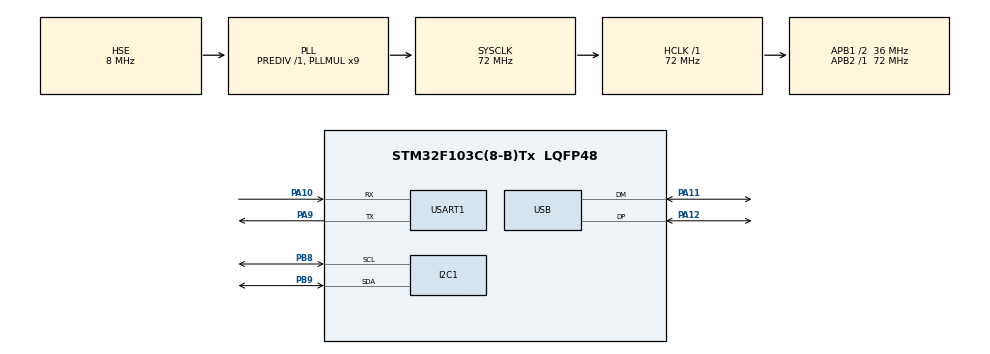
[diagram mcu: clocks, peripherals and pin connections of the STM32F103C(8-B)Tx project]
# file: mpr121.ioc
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Dma.I2C1_RX.1.Direction=DMA_PERIPH_TO_MEMORY
Dma.I2C1_RX.1.Instance=DMA1_Channel7
Dma.I2C1_RX.1.MemDataAlignment=DMA_MDATAALIGN_BYTE
Dma.I2C1_RX.1.MemInc=DMA_MINC_ENABLE
Dma.I2C1_RX.1.Mode=DMA_NORMAL
Dma.I2C1_RX.1.PeriphDataAlignment=DMA_PDATAALIGN_BYTE
Dma.I2C1_RX.1.PeriphInc=DMA_PINC_DISABLE
Dma.I2C1_RX.1.Priority=DMA_PRIORITY_LOW
Dma.I2C1_TX.0.Direction=DMA_MEMORY_TO_PERIPH
Dma.I2C1_TX.0.Instance=DMA1_Channel6
Dma.I2C1_TX.0.MemDataAlignment=DMA_MDATAALIGN_BYTE
Dma.I2C1_TX.0.MemInc=DMA_MINC_ENABLE
Dma.I2C1_TX.0.Mode=DMA_NORMAL
Dma.I2C1_TX.0.PeriphDataAlignment=DMA_PDATAALIGN_BYTE
Dma.I2C1_TX.0.PeriphInc=DMA_PINC_DISABLE
Dma.I2C1_TX.0.Priority=DMA_PRIORITY_LOW
Dma.Request0=I2C1_TX
Dma.Request1=I2C1_RX
I2C1.I2C_Mode=I2C_Fast
Mcu.Family=STM32F1
Mcu.Name=STM32F103C(8-B)Tx
Mcu.Package=LQFP48
NVIC.DMA1_Channel6_IRQn=true\:0\:0\:false\:false\:true\:false\:true\:true
NVIC.DMA1_Channel7_IRQn=true\:0\:0\:false\:false\:true\:false\:true\:true
NVIC.PriorityGroup=NVIC_PRIORITYGROUP_4
NVIC.USART1_IRQn=true\:0\:0\:false\:false\:true\:true\:true\:true
NVIC.USB_LP_CAN1_RX0_IRQn=true\:0\:0\:false\:false\:true\:false\:true\:true
PA10.Mode=Asynchronous
PA10.Signal=USART1_RX
PA11.Mode=Device
PA11.Signal=USB_DM
PA12.Mode=Device
PA12.Signal=USB_DP
PA13.Mode=Serial_Wire
PA13.Signal=SYS_JTMS-SWDIO
PA14.Mode=Serial_Wire
PA14.Signal=SYS_JTCK-SWCLK
PA9.Mode=Asynchronous
PA9.Signal=USART1_TX
PB8.Mode=I2C
PB8.Signal=I2C1_SCL
PB9.Mode=I2C
PB9.Signal=I2C1_SDA
PD0-OSC_IN.Mode=HSE-External-Oscillator
PD0-OSC_IN.Signal=RCC_OSC_IN
PD1-OSC_OUT.Mode=HSE-External-Oscillator
PD1-OSC_OUT.Signal=RCC_OSC_OUT
ProjectManager.HeapSize=0x200
ProjectManager.StackSize=0x400
ProjectManager.TargetToolchain=STM32CubeIDE
RCC.AHBFreq_Value=72000000
RCC.APB1CLKDivider=RCC_HCLK_DIV2
RCC.APB1Freq_Value=36000000
RCC.APB1TimFreq_Value=72000000
RCC.APB2Freq_Value=72000000
RCC.APB2TimFreq_Value=72000000
RCC.HCLKFreq_Value=72000000
RCC.PLLMUL=RCC_PLL_MUL9
RCC.SYSCLKFreq_VALUE=72000000
RCC.SYSCLKSource=RCC_SYSCLKSOURCE_PLLCLK
RCC.USBFreq_Value=48000000
RCC.USBPrescaler=RCC_USBCLKSOURCE_PLL_DIV1_5
USART1.VirtualMode=VM_ASYNC
USB_DEVICE.CLASS_NAME_FS=CDC
USB_DEVICE.VirtualMode=Cdc
USB_DEVICE.VirtualModeFS=Cdc_FS
VP_USB_DEVICE_VS_USB_DEVICE_CDC_FS.Mode=CDC_FS
board=custom

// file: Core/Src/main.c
/* USER CODE BEGIN Header */
/**
  ******************************************************************************
  * @file           : main.c
  * @brief          : Main program body
  ******************************************************************************
  * @attention
  *
  * Copyright (c) 2025 STMicroelectronics.
  * All rights reserved.
  *
  * This software is licensed under terms that can be found in the LICENSE file
  * in the root directory of this software component.
  * If no LICENSE file comes with this software, it is provided AS-IS.
  *
  ******************************************************************************
  */
/* USER CODE END Header */
#include "main.h"
#include "dma.h"
#include "i2c.h"
#include "usart.h"
#include "usb_device.h"
#include "gpio.h"

/* USER CODE BEGIN Includes */
#include <stdio.h>
#include <stdlib.h>
/* USER CODE END Includes */

/* USER CODE BEGIN PV */
uint16_t dmadata=0;
/* USER CODE END PV */

void SystemClock_Config(void);

int main(void)
{

  /* MCU Configuration--------------------------------------------------------*/

  /* Reset of all peripherals, Initializes the Flash interface and the Systick. */
  HAL_Init();

  /* Configure the system clock */
  SystemClock_Config();

  /* Initialize all configured peripherals */
  MX_GPIO_Init();
  MX_DMA_Init();
  MX_USB_DEVICE_Init();
  MX_I2C1_Init();
  MX_USART1_UART_Init();
  /* USER CODE BEGIN 2 */
  OLED_init();
  mpr121_init();
  char buffer[11];

  /* USER CODE END 2 */

  /* Infinite loop */
  /* USER CODE BEGIN WHILE */
  while (1)
  {
	  uint16_t data = touched();

	  HAL_I2C_Mem_Read_DMA(&hi2c1, MPR121_I2CADDR_DEFAULT, MPR121_TOUCHSTATUS_L, I2C_MEMADD_SIZE_8BIT, (uint8_t*)&dmadata, 1);
	  HAL_Delay(50);
	  printf("%d\n", dmadata);
//	  printf("为了解决神秘bug而诞生了这一行\n");
	  sprintf(buffer, "%ld    ", data);
//	  OLED_showString(8, 8, buffer, 8);
//	  HAL_Delay(500);
    /* USER CODE END WHILE */

  }
}

void SystemClock_Config(void)
{
  RCC_OscInitTypeDef RCC_OscInitStruct = {0};
  RCC_ClkInitTypeDef RCC_ClkInitStruct = {0};
  RCC_PeriphCLKInitTypeDef PeriphClkInit = {0};

  /** Initializes the RCC Oscillators according to the specified parameters
  * in the RCC_OscInitTypeDef structure.
  */
  RCC_OscInitStruct.OscillatorType = RCC_OSCILLATORTYPE_HSE;
  RCC_OscInitStruct.HSEState = RCC_HSE_ON;
  RCC_OscInitStruct.HSEPredivValue = RCC_HSE_PREDIV_DIV1;
  RCC_OscInitStruct.HSIState = RCC_HSI_ON;
  RCC_OscInitStruct.PLL.PLLState = RCC_PLL_ON;
  RCC_OscInitStruct.PLL.PLLSource = RCC_PLLSOURCE_HSE;
  RCC_OscInitStruct.PLL.PLLMUL = RCC_PLL_MUL9;
  if (HAL_RCC_OscConfig(&RCC_OscInitStruct) != HAL_OK)
  {
    Error_Handler();
  }

  /** Initializes the CPU, AHB and APB buses clocks
  */
  RCC_ClkInitStruct.ClockType = RCC_CLOCKTYPE_HCLK|RCC_CLOCKTYPE_SYSCLK
                              |RCC_CLOCKTYPE_PCLK1|RCC_CLOCKTYPE_PCLK2;
  RCC_ClkInitStruct.SYSCLKSource = RCC_SYSCLKSOURCE_PLLCLK;
  RCC_ClkInitStruct.AHBCLKDivider = RCC_SYSCLK_DIV1;
  RCC_ClkInitStruct.APB1CLKDivider = RCC_HCLK_DIV2;
  RCC_ClkInitStruct.APB2CLKDivider = RCC_HCLK_DIV1;

  if (HAL_RCC_ClockConfig(&RCC_ClkInitStruct, FLASH_LATENCY_2) != HAL_OK)
  {
    Error_Handler();
  }
  PeriphClkInit.PeriphClockSelection = RCC_PERIPHCLK_USB;
  PeriphClkInit.UsbClockSelection = RCC_USBCLKSOURCE_PLL_DIV1_5;
  if (HAL_RCCEx_PeriphCLKConfig(&PeriphClkInit) != HAL_OK)
  {
    Error_Handler();
  }
}

/* USER CODE BEGIN 4 */
int _write(int fd, char *buffer, int len)
{
    HAL_UART_Transmit(&huart1, (uint8_t*)buffer, len, 1000);
    return len;
}
int fputc(int ch, FILE *f)
{
	HAL_UART_Transmit(&huart1, (uint8_t *)&ch, 1, 1000);
	return ch;
}

void HAL_I2C_MemRxCpltCallback(I2C_HandleTypeDef *hi2c)
{
//	static uint8_t mpr121_address_index[1];
	static uint8_t count;
	static uint8_t databuf_H;
	static uint8_t databuf_L;
	static uint8_t mpr121_mem_index[2]={MPR121_TOUCHSTATUS_H, MPR121_TOUCHSTATUS_L};
	if(hi2c==&hi2c1)
	{
		switch(count)
		{
			case 0:
				HAL_I2C_Mem_Read_DMA(&hi2c1, MPR121_I2CADDR_DEFAULT, MPR121_TOUCHSTATUS_H, I2C_MEMADD_SIZE_8BIT, &databuf_H, 1);
				count=1;
				break;
			case 1:
				HAL_I2C_Mem_Read_DMA(&hi2c1, MPR121_I2CADDR_DEFAULT, MPR121_TOUCHSTATUS_L, I2C_MEMADD_SIZE_8BIT, &databuf_L, 1);
				count=0;
				break;
		}
		dmadata=( databuf_H<<8 | databuf_L );

	}
}
/* USER CODE END 4 */

void Error_Handler(void)
{
  __disable_irq();
  while (1)
  {
  }
}
